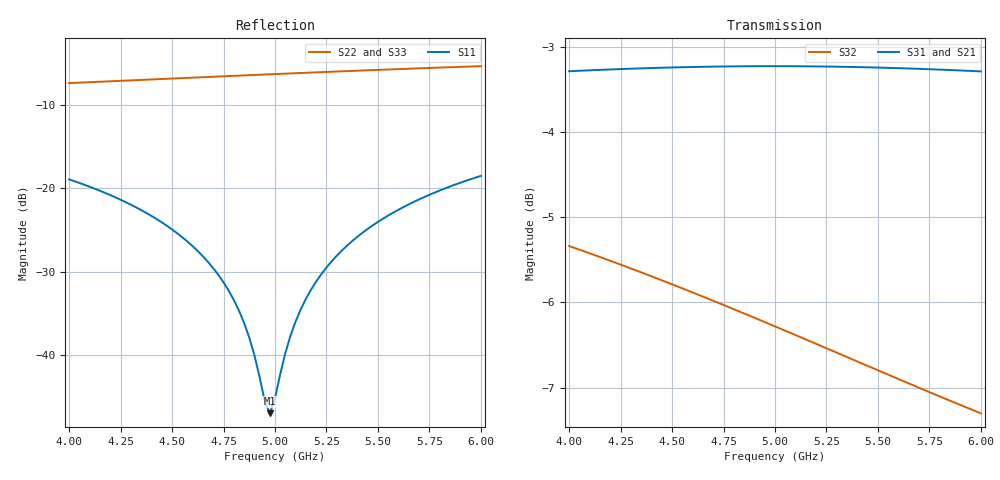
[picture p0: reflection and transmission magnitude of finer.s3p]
! yapnr rf: divider-osh-m-star, footprint re-simulated (refine 3)
! spec sha256 5c8ff818df422873aa88d55bef2dedd6a6ce6afaf8815cf4395bdffaf75e430d
! 3 ports renormalized to 50 ohm, e^(+jwt) convention
# GHz S RI R 50
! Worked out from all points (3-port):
!   81 points, 4 GHz to 6 GHz, reference 50 ohm
!   strongest paths, dB at 4 GHz, 4.5 GHz, 5 GHz, 5.5 GHz, 6 GHz:
!     S31: -3.3, -3.2, -3.2, -3.2, -3.3
!     S21: -3.3, -3.2, -3.2, -3.2, -3.3
!     S32: -5.3, -5.8, -6.3, -6.8, -7.3
!   lowest |S11| = -47.1 dB at 4.975 GHz (marker M1), VSWR 1.01, Z = 50.4 - j0.0355 ohm
!   |S11| at or under -10 dB: start of sweep to end of sweep
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4  -0.0328 0.1085  -0.2274 -0.6458  -0.2274 -0.6458
   -0.2275 -0.6459  0.317 0.2909  -0.4029 -0.3609
   -0.2275 -0.6459  -0.4029 -0.3609  0.317 0.2909
4.4  -0.00793 0.0679  -0.3525 -0.5904  -0.3525 -0.5904
     -0.3527 -0.5905  0.3969 0.2171  -0.4548 -0.2505
     -0.3527 -0.5905  -0.4548 -0.2505  0.3969 0.2171
4.675  0.00176 0.036  -0.4312 -0.5372  -0.4312 -0.5372
       -0.4314 -0.5373  0.4422 0.1545  -0.473 -0.1732
       -0.4314 -0.5373  -0.473 -0.1732  0.4422 0.1545
4.85  0.00435 0.0149  -0.4771 -0.4975  -0.4771 -0.4975
      -0.4772 -0.4975  0.4658 0.1103  -0.4777 -0.1249
      -0.4772 -0.4975  -0.4777 -0.1249  0.4658 0.1103
4.975  0.00442 -0.000352  -0.5075 -0.4666  -0.5075 -0.4666
       -0.5077 -0.4666  0.4799 0.0769  -0.4781 -0.0912
       -0.5077 -0.4666  -0.4781 -0.0912  0.4799 0.0769
5  0.00426 -0.0034  -0.5134 -0.4601  -0.5134 -0.4601
   -0.5135 -0.4602  0.4824 0.0701  -0.4778 -0.0846
   -0.5135 -0.4602  -0.4778 -0.0846  0.4824 0.0701
5.125  0.00251 -0.0186  -0.5412 -0.4269  -0.5412 -0.4269
       -0.5414 -0.4269  0.4936 0.0353  -0.4753 -0.052
       -0.5414 -0.4269  -0.4753 -0.052  0.4936 0.0353
5.3  -0.00248 -0.0393  -0.5764 -0.3774  -0.5764 -0.3774
     -0.5765 -0.3773  0.5049 -0.015  -0.4683 -0.00831
     -0.5765 -0.3773  -0.4683 -0.00831  0.5049 -0.015
5.575  -0.0161 -0.0698  -0.6218 -0.2938  -0.6218 -0.2938
       -0.6219 -0.2938  0.5118 -0.0966  -0.4499 0.0553
       -0.6219 -0.2938  -0.4499 0.0553  0.5118 -0.0966
6  -0.0495 -0.1082  -0.6668 -0.1552  -0.6668 -0.1552
   -0.6669 -0.1551  0.496 -0.2233  -0.4082 0.1401
   -0.6669 -0.1551  -0.4082 0.1401  0.496 -0.2233
